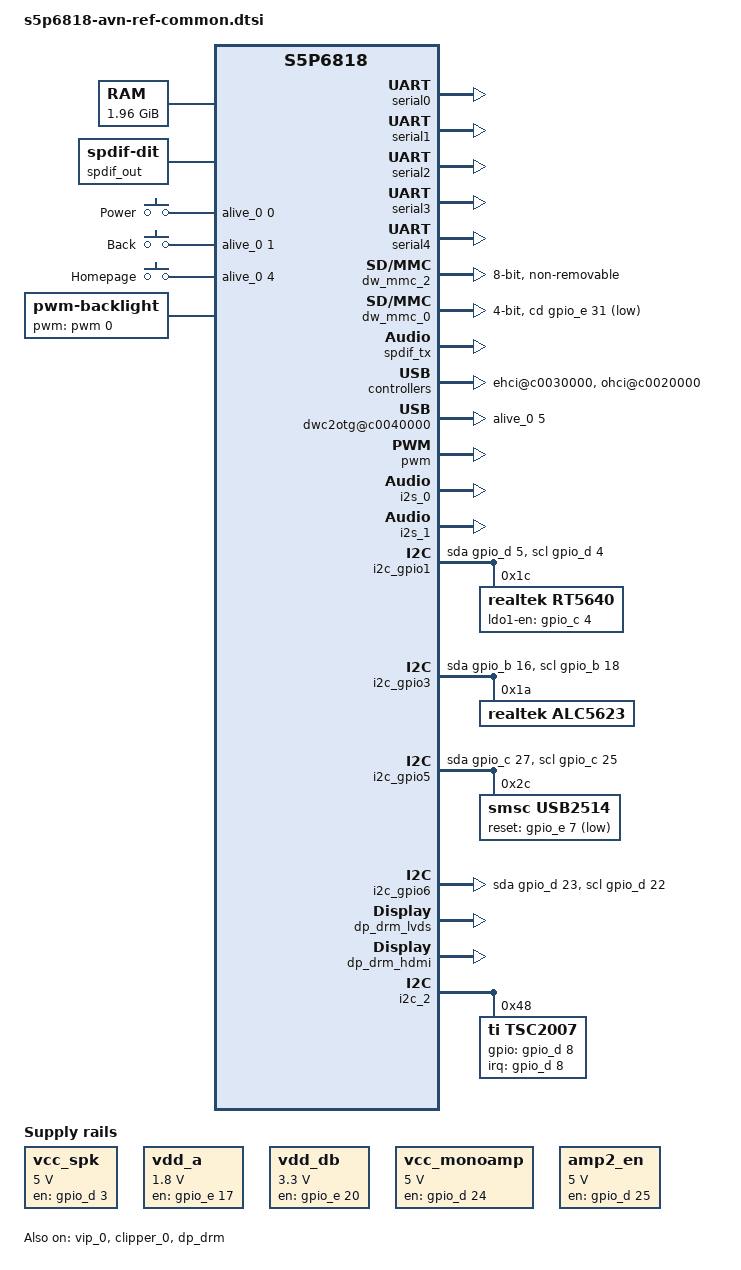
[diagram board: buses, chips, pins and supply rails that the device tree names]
/*
 * Copyright (C) 2016  Nexell Co., Ltd.
 * Author: Hyejung Kown <cjscld15@nexell.co.kr>
 *
 * This program is free software; you can redistribute it and/or
 * modify it under the terms of the GNU General Public License
 * as published by the Free Software Foundation; either version 2
 * of the License, or (at your option) any later version.
 *
 * This program is distributed in the hope that it will be useful,
 * but WITHOUT ANY WARRANTY; without even the implied warranty of
 * MERCHANTABILITY or FITNESS FOR A PARTICULAR PURPOSE.  See the
 * GNU General Public License for more details.
 *
 * You should have received a copy of the GNU General Public License
 * along with this program.  If not, see <http://www.gnu.org/licenses/>.
 */

#include <dt-bindings/interrupt-controller/irq.h>
#include <dt-bindings/gpio/gpio.h>
#include <dt-bindings/input/input.h>
#include "s5p6818.dtsi"

#define PMIC_PDATA_INIT(_id, _rname, _minuv,    \
                        _maxuv, _init_uv, _init_enable,         \
                        _set_init_uV, _slp_slots)       \
                regulator-name = _rname;                \
                regulator-min-microvolt = <_minuv>;     \
                regulator-max-microvolt = <_maxuv>;     \
                nx,id = <_id>;                          \
                nx,init_enable = <_init_enable>;        \
                nx,init_uV = <_init_uv>;                \
                nx,set_init_uV = <_set_init_uV>;        \
                nx,sleep_slots = <_slp_slots>;

/ {
	memory {
		device_type = "memory";
		reg = <0x40000000 0x7db00000>;
	};

	aliases {
		i2c1 = &i2c_gpio1;
		i2c3 = &i2c_gpio3;
		i2c5 = &i2c_gpio5;
		i2c6 = &i2c_gpio6;
		i2c7 = &i2c_gpio7;
	};

	nx-v4l2 {
		status = "okay";
	};

	soc {
		#include "s5p6818-pinctrl.dtsi"
		clocks {
			uart3:uart@c00ab000 { clock-frequency = <147500000>; };
			vip0:vip@c00c1000 { src-force = <4>; };
			i2c2:i2c@c00b0000  { clock-frequency = <200000000>; };
			pwm0:pwm0@c00ba000 {
				clk-input = <I_PLL2>;
				clock-frequency = <10000000>;
			};
			pwm1:pwm1@c00ba000 {
				clk-input = <I_PLL2>;
				clock-frequency = <10000000>;
			};
			pwm2:pwm2@c00be000 {
				clk-input = <I_PLL2>;
				clock-frequency = <10000000>;
			};
			pwm3:pwm3@c00be000 {
				clk-input = <I_PLL2>;
				clock-frequency = <10000000>;
			};
		};

		serial0:serial@c00a1000 {
			dmas = <&pl08xdma0 2>, <&pl08xdma0 3>;
			dma-names = "tx", "rx";
			status ="okay";
		};

		serial1:serial@c00a0000 {
			dmas = <&pl08xdma0 0>, <&pl08xdma0 1>;
			dma-names = "tx", "rx";
			status ="okay";
		};

		serial2:serial@c00a2000 {
			dmas = <&pl08xdma0 4>, <&pl08xdma0 5>;
			dma-names = "tx", "rx";
			status ="okay";
		};

		serial3:serial@c00a3000 {
			status ="okay";
		};

		serial4:serial@c006d000 {
			status ="okay";
		};

		amba {
			pl08xdma0:pl08xdma@c0000000 {
				use_isr;

				ch12 {
					slave_wait_flush_dma;
				};

				ch13 {
					slave_wait_flush_dma;
				};

				ch14 {
					slave_wait_flush_dma;
				};

				ch15 {
					slave_wait_flush_dma;
				};
			};

			pl08xdma1:pl08xdma@c0001000 {
				use_isr;

				ch0 {
					slave_wait_flush_dma;
				};

				ch1 {
					slave_wait_flush_dma;
				};
			};
		};

		dw_mmc_2:dw_mmc@c0069000 {
			num-slots = <1>;
			bus-width = <8>;
			mmc-ddr-1_8v;
			pinctrl-0 = <&sdmmc2_cclk &sdmmc2_cmd
						&sdmmc2_bus4 &sdmmc2_bus8>;
			soc,tieoff = <NX_TIEOFF_MMC_8BIT 1>;
			cap-mmc-highspeed;
			broken-cd;
			non-removable;
			clock-frequency = <200000000>;
			card-detect-delay = <200>;
			disable-wp;
			status = "okay";
			nexell,drive_dly = <0x0>;
			nexell,drive_shift = <0x03>;
			nexell,sample_dly = <0x00>;
			nexell,sample_shift = <0x02>;
		};

		dw_mmc_0:dw_mmc@c0062000 {
			num-slots = <1>;
			bus-width = <4>;
			cap-sd-highspeed;
			clock-frequency = <100000000>;
			card-detect-delay = <200>;
			disable-wp;
			cd-gpios = <&gpio_e 31 0>;
			cd-inverted;
			nexell,drive_dly = <0x0>;
			nexell,drive_shift = <0x02>;
			nexell,sample_dly = <0x00>;
			nexell,sample_shift = <0x01>;
			status = "okay";
		};

		spdif_tx: spdiftx@c0059000 {
			#sound-dai-cells = <1>;
			pcm-bit = <16>;
			sample_rate = <48000>;
			status = "okay";
		};

		watchdog@c0019000 {
			status = "okay";
		};

		rtc@c0010c00 {
			status = "okay";
		};

		nexell_usbphy: nexell-usbphy@c0012000 {
			status = "okay";
		};

		ehci@c0030000 {
			status = "okay";
			port@0 {
				status = "okay";
			};
		};

		ohci@c0020000 {
			status = "okay";
			port@0 {
				status = "okay";
			};
		};

		dwc2otg@c0040000 {
			gpios = <&alive_0 5 0>;
			status = "okay";
		};

		pwm:pwm@c0018000 {
			clock-names = "timers", "pwm-tclk0", "pwm-tclk1";
			clocks = <&pclk>, <&pwm0>, <&pwm1>;
			pinctrl-names = "default";
			pinctrl-0 = <&pwm0_pin &pwm1_pin>;
			samsung,pwm-outputs = <0>, <1>;
			status = "okay";
		};

		i2s_0:i2s@c0055000 {
			#sound-dai-cells = <1>;
			master-mode = <1>;
			mclk-in = <0>;
			trans-mode = <0>;
			frame-bit = <32>;
			sample-rate = <48000>;
			pre-supply-mclk = <1>;
			status = "okay";
		};

		i2s_1:i2s@c0056000 {
			#sound-dai-cells = <1>;
			master-mode = <1>;
			mclk-in = <0>;
			trans-mode = <0>;
			frame-bit = <32>;
			sample-rate = <48000>;
			pre-supply-mclk = <1>;
			status = "okay";
		};

		pinctrl@C0010000 {
			key_power:key_power {
				nexell,pins = "alive-0";
				nexell,pin-function = <0>;
				nexell,pin-pull = <1>;
				nexell,pin-strength = <0>;
			};

			key_back:key_back {
				nexell,pins = "alive-1";
				nexell,pin-function = <0>;
				nexell,pin-pull = <1>;
				nexell,pin-strength = <0>;
			};

			key_voldown:key_voldown {
				nexell,pins = "alive-2";
				nexell,pin-function = <0>;
				nexell,pin-pull = <1>;
				nexell,pin-strength = <0>;
			};

			key_volup:key_volup {
				nexell,pins = "alive-3";
				nexell,pin-function = <0>;
				nexell,pin-pull = <1>;
				nexell,pin-strength = <0>;
			};

			key_homepage:key_homepage {
				nexell,pins = "alive-4";
				nexell,pin-function = <0>;
				nexell,pin-pull = <1>;
				nexell,pin-strength = <0>;
			};

			toutchpanel_irq: touchpanel-irq {
				nexell,pins = "gpiod-8";
				nexell,pin-function = <0>;
				nexell,pin-pull = <1>;
				nexell,pin-strength = <0>;
			};
		};

		regulators {
			VCC_DCDC1:dcdc2 { PMIC_PDATA_INIT( 1,
				"nxe2000_dcdc2",
                                1000000, 1500000,
				1200000, 1, 0, 0x4)
                                regulator-always-on;
                                regulator-boot-on;};
			}; /* regulators */
	};	/*** soc ***/

	vcc_spk: regulator-fix@2 {
		compatible = "regulator-fixed";

		regulator-name = "SPK Vcc";
		regulator-min-microvolt = <5000000>;
		regulator-max-microvolt = <5000000>;
		regulator-boot-on;
		regulator-always-on;

		gpio = <&gpio_d 3 GPIO_ACTIVE_HIGH>;
		enable-active-high;
	};

	vdd_a: regulator-fix@3 {
		compatible = "regulator-fixed";

		regulator-name = "A Vdd";
		regulator-min-microvolt = <1800000>;
		regulator-max-microvolt = <1800000>;
		regulator-boot-on;
		regulator-always-on;

		gpio = <&gpio_e 17 GPIO_ACTIVE_HIGH>;
		enable-active-high;
	};

	vdd_db: regulator-fix@4 {
		compatible = "regulator-fixed";

		regulator-name = "DB Vdd";
		regulator-min-microvolt = <3300000>;
		regulator-max-microvolt = <3300000>;
		regulator-boot-on;
		regulator-always-on;

		gpio = <&gpio_e 20 GPIO_ACTIVE_HIGH>;
		enable-active-high;
	};

	vcc_monoamp: regulator-fix@5 {
		compatible = "regulator-fixed";

		regulator-name = "MONOAMP Vcc";
		regulator-min-microvolt = <5000000>;
		regulator-max-microvolt = <5000000>;
		regulator-boot-on;
		regulator-always-on;

		gpio = <&gpio_d 24 GPIO_ACTIVE_HIGH>;
		enable-active-high;
	};

	amp2_en: regulator-fix@6 {
		compatible = "regulator-fixed";

		regulator-name = "AMP2 EN";
		regulator-min-microvolt = <5000000>;
		regulator-max-microvolt = <5000000>;
		regulator-boot-on;
		regulator-always-on;

		gpio = <&gpio_d 25 GPIO_ACTIVE_HIGH>;
		enable-active-high;
	};

	i2c_gpio1: i2c@1 {
		compatible = "i2c-gpio";
		gpios = <&gpio_d 5 0 /* sda */
		    &gpio_d 4 0 /* scl */>;
		i2c-gpio,delay-us = <100>;
		#address-cells = <1>;
		#size-cells = <0>;

		rt5640: rt5640@1c {
			#sound-dai-cells = <0>;
			compatible = "realtek,rt5640";
			reg = <0x1c>;
			realtek,ldo1-en-gpios = <&gpio_c 4 GPIO_ACTIVE_HIGH>;
		};
	};

	i2c_gpio3: i2c@3 {
		compatible = "i2c-gpio";
		gpios = <&gpio_b 16 0 /* sda */
		    &gpio_b 18 0 /* scl */>;
		i2c-gpio,delay-us = <100>;
		#address-cells = <1>;
		#size-cells = <0>;

		alc5623: alc5623@1a {
			#sound-dai-cells = <0>;
			compatible = "realtek,alc5623";
			reg = <0x1a>;
		};
	};

	i2c_gpio5: i2c@5 {
		compatible = "i2c-gpio";
		gpios = <&gpio_c 27 0 /* sda */
		    &gpio_c 25 0 /* scl */
		    >;
		i2c-gpio,delay-us = <100>;
		#address-cells = <1>;
		#size-cells = <0>;

		usb2514: usb2514@2c {
			compatible = "smsc,usb2514";
			reg = <0x2c>;
			reset-gpios = <&gpio_e 7 1>;
			initial-mode = <1>;
		};
	};

	i2c_gpio6: i2c@6 {
		compatible = "i2c-gpio";
		gpios = <&gpio_d 23 0 /* sda */
		    &gpio_d 22 0 /* scl */
		    >;
		i2c-gpio,delay-us = <100>;
		#address-cells = <1>;
		#size-cells = <0>;
	};

	i2c_gpio7: i2c@7 {
		status = "disabled";
	};

	sound {
		compatible = "simple-audio-card";
		simple-audio-card,name = "s5p6818 avn_ref Audio";
		simple-audio-card,mclk-fs = <256>;
		simple-audio-card,widgets =
		    "Headphone", "Out Jack",
		    "Microphone", "In Jack";
		simple-audio-card,routing =
		    "Out Jack", "HPOL",
		    "Out Jack", "HPOR",
		    "IN2P", "In Jack",
		    "IN2P", "In Jack";
		status = "okay";

		simple-audio-card,dai-link@0 {
		    format = "i2s";
		    cpu {
			sound-dai = <&i2s_0 0>;
		    };

		    codec {
			sound-dai = <&rt5640>;
		    };
		};

		simple-audio-card,dai-link@1 {
		    format = "i2s";
		    cpu {
			sound-dai = <&i2s_1 0>;
		    };

		    codec {
			sound-dai = <&alc5623>;
		    };
		};

		simple-audio-card,dai-link@2 {
		    cpu {
			sound-dai = <&spdif_tx 0>;
		    };

		    codec {
			sound-dai = <&spdif_out>;
		    };
		};
	};

	spdif_out: spdif-out {
		#sound-dai-cells = <0>;
		compatible = "linux,spdif-dit";
	};

	gpio_key: gpio_keys {
		compatible = "gpio-keys";
		#address-cells = <1>;
		#size-cells = <0>;
		pinctrl-names = "default";
		pinctrl-0 = <&key_power &key_back &key_voldown
		    &key_homepage>;

		power {
			label = "Power";
			gpios = <&alive_0 0 0>;
			linux,code = <KEY_POWER>;
			gpio-key,wakeup;
		};

		back {
			label = "Back";
			gpios = <&alive_0 1 0>;
			linux,code = <KEY_BACK>;
		};

		homepage {
			label = "Homepage";
			gpios = <&alive_0 4 0>;
			linux,code = <KEY_HOMEPAGE>;
		};
	};

	nexell-ion@0 {
		compatible = "nexell,ion";

		heap_sys_user@0 {
			heap-type = "ion_system";
		};

		heap_sys_contig@0 {
			heap-type = "ion_system_contig";
		};

		heap_dma@0 {
			heap-type = "ion_dma";
		};
	};

	backlight: pwm-backlight {
		compatible = "pwm-backlight";
		pwms = <&pwm 0 20000 1>;
		pwm-names = "pwm-backlight";

		brightness-levels = <30 31 32 33 34 35 36 37 38 39
				     40 41 42 43 44 45 46 47 48 49
				     50 51 52 53 54 55 56 57 58 59
				     60 61 62 63 64 65 66 67 68 69
				     70 71 72 73 74 75 76 77 78 79
				     80 81 82 83 84 85 86 87 88 89
				     90>;
		default-brightness-level = <45>;
		status = "okay";
	};
};

&vip_0 {
	status = "okay";
};

&clipper_0 {
	interface_type = <NX_CAPTURE_INTERFACE_PARALLEL>;
	pinctrl-names = "default";
	pinctrl-0 = <&vid0_data_clk &vid0_sync>;
	gpios = <&gpio_c 9 0 &gpio_e 16 0 &gpio_e 12 0>;
	data_order = <NX_VIN_CBY0CRY1>;
	port = <0>;
	external_sync = <0>;
	interlace = <1>;
	status = "okay";

	sensor {
		type = <NX_CAPTURE_SENSOR_I2C>;
		i2c_name = "tw9900";
		i2c_adapter = <5>;
		addr = <0x44>;
	};

	power {
		enable_seq = <
		NX_ACTION_START NX_ACTION_TYPE_GPIO 2 0 1 0 10 NX_ACTION_END
		NX_ACTION_START NX_ACTION_TYPE_GPIO 1 0 1 0 10 NX_ACTION_END
		NX_ACTION_START NX_ACTION_TYPE_GPIO 0 1 10 NX_ACTION_END
		>;
	};
};

&dp_drm {
	status = "okay";
	ports {
		port@0 {
			reg = <0>;
			back_color = < 0x0 >;
			color_key = < 0x0 >;
			plane-names = "video", "primary", "rgb";
		};
		port@1 {
			reg = <1>;
			back_color = < 0x0 >;
			color_key = < 0x0 >;
			plane-names = "video", "primary";
		};
	};
};

&dp_drm_lvds {
	status = "ok";

	display-timing {
		clock-frequency = <50000000>;
		hactive = <1024>;
		vactive = <600>;
		hfront-porch = <160>;
		hback-porch = <140>;
		hsync-len = <20>;
		vfront-porch = <12>;
		vback-porch = <20>;
		vsync-len = <3>;
	};

	dp_control {
		clk_src_lv0 = <3>;
		clk_div_lv0 = <16>;
		clk_src_lv1 = <7>;
		clk_div_lv1 = <1>;
		out_format = <2>;
	};
};

&dp_drm_hdmi {
	ddc-i2c-bus = <&i2c_gpio6>;
	status = "ok";
};

&i2c_2 {
	#address-cells = <1>;
	#size-cells = <0>;
	status = "okay";
	rate = <400000>;

	tsc2007: tsc2007@48 {
		compatible = "ti,tsc2007";
		gpios = <&gpio_d 8 0>;
		interrupt-parent = <&gpio_d>;
		interrupts = <8 IRQ_TYPE_EDGE_FALLING>;
		pinctrl-names = "default";
		pinctrl-0 = <&toutchpanel_irq>;
		reg = <0x48>;
		ti,x-plate-ohms = <180>;
	};
};
